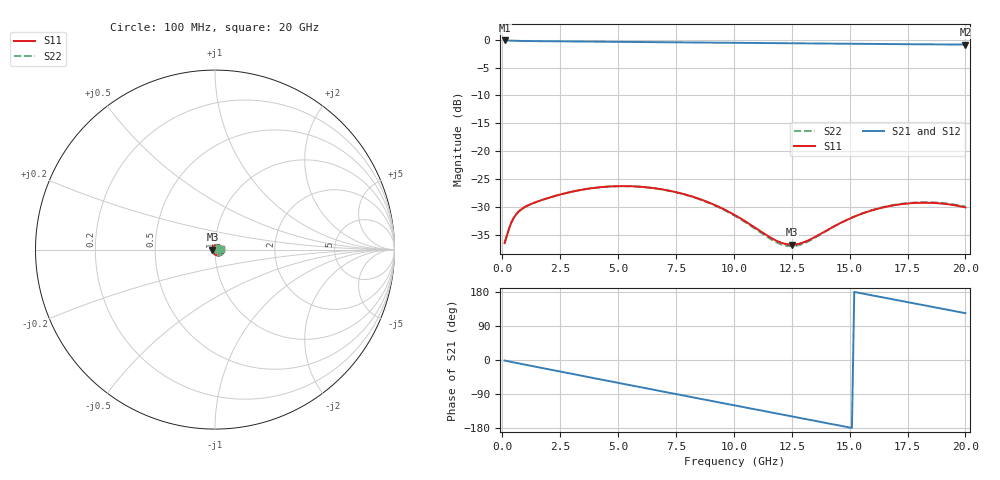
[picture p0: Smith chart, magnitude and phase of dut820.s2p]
! Touchstone file exported from HFSS 2026.1.0
!  File:  C:/ffzhzh/LocalFiles/Ansys_Project_Files/temp_train_TSV_RDL_820_1783265438_5512.aedt
!  Generated:  11:38:07 PM Jul  5, 2026
!  Design:  TSV_RDL
!  Project:  temp_train_TSV_RDL_820_1783265438_5512
! Variables:
!  h_bsmrdl = 2.96um
!  h_ox = 20um
!  h_rdl = 5um
!  h_sub = 77.81um
!  h_tmrdl = 5.58um
!  h_tsv = 77.81um
!  h_via = 3um
!  l_bsmrdl = 734.21um
!  l_sub = 4022.69um
!  l_tmrdl = 313.03um
!  m_sub = 200um
!  pitch = 33.97um
!  r_tsv = 7.89um
!  s_tmrdl = 10um
!  w_bsmrdl = 29.9um
!  w_sub = 500um
!  w_tmrdl = 26.08um
!  x_tsv_center1 = 326.07um
!  x_tsv_center2 = 1090.18um
!  x_tsv_center3 = 1429.29um
!  x_tsv_center4 = 2193.4um
!  x_tsv_center5 = 2532.51um
!  x_tsv_center6 = 3296.62um
# GHz S MA R 50.000000
! Terminal data exported
! Port[1] = TM_RDL1_1_T1
! Port[2] = TM_RDL5_1_T1
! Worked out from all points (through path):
!   200 points, 100 MHz to 20 GHz, reference 50 ohm
!   highest |S21| = -0.13 dB at 100 MHz (marker M1); lowest = -0.9 dB at 20 GHz (marker M2)
!   group delay of S21, straight-line fit = 32.7 ps
!   lowest |S11| = -36.8 dB at 12.5 GHz (marker M3), VSWR 1.03, Z = 48.6 + j0.0262 ohm
!   |S11| at or under -10 dB: start of sweep to end of sweep
!   |S22| runs from -37.1 to -26.3 dB; largest |S21 - S12| = 6.8e-13
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0.1  0.0149 14.6  0.9857 -1.4  0.9857 -1.4  0.0149 14.6
! Gamma 0 0 0 0
! Port Impedance 50 0 50 0
0.3  0.02034 27.1  0.9821 -4.0  0.9821 -4.0  0.02035 27.0
0.5  0.02523 27.4  0.9785 -6.5  0.9785 -6.5  0.02524 27.3
0.9  0.03074 23.2  0.9744 -11.3  0.9744 -11.3  0.03074 23.1
2.2  0.03908 13.1  0.969 -26.9  0.969 -26.9  0.03906 13.1
3.5  0.04517 1.7  0.9641 -42.4  0.9641 -42.4  0.04513 1.7
5.2  0.04844 -17.4  0.9573 -62.7  0.9573 -62.7  0.04836 -17.3
6  0.04774 -27.5  0.9541 -72.2  0.9541 -72.2  0.04763 -27.3
6.8  0.04565 -38.2  0.951 -81.6  0.951 -81.6  0.0455 -38.0
7.6  0.04229 -49.6  0.9479 -91.1  0.9479 -91.1  0.0421 -49.4
8.4  0.03786 -61.9  0.9447 -100.6  0.9447 -100.6  0.03762 -61.7
9.2  0.03261 -75.7  0.9416 -110.0  0.9416 -110.0  0.03232 -75.4
10.1  0.02619 -94.1  0.9381 -120.6  0.9381 -120.6  0.02582 -93.8
11.8  0.0158 -148.1  0.9314 -140.6  0.9314 -140.6  0.0153 -148.4
12.5  0.01443 178.9  0.9287 -148.8  0.9287 -148.8  0.01398 177.7
12.9  0.01487 159.8  0.9271 -153.5  0.9271 -153.5  0.0145 158.1
13.4  0.01646 138.5  0.9253 -159.4  0.9253 -159.4  0.01621 136.6
15  0.0247 91.9  0.9195 -178.1  0.9195 -178.1  0.02474 90.3
15.8  0.02861 75.4  0.9169 172.6  0.9169 172.6  0.02875 74.0
16.7  0.03199 59.1  0.9141 162.1  0.9141 162.1  0.0322 57.8
18.3  0.03433 32.3  0.9096 143.4  0.9096 143.4  0.03466 31.2
20  0.03117 3.2  0.9055 123.6  0.9055 123.6  0.03161 2.0
